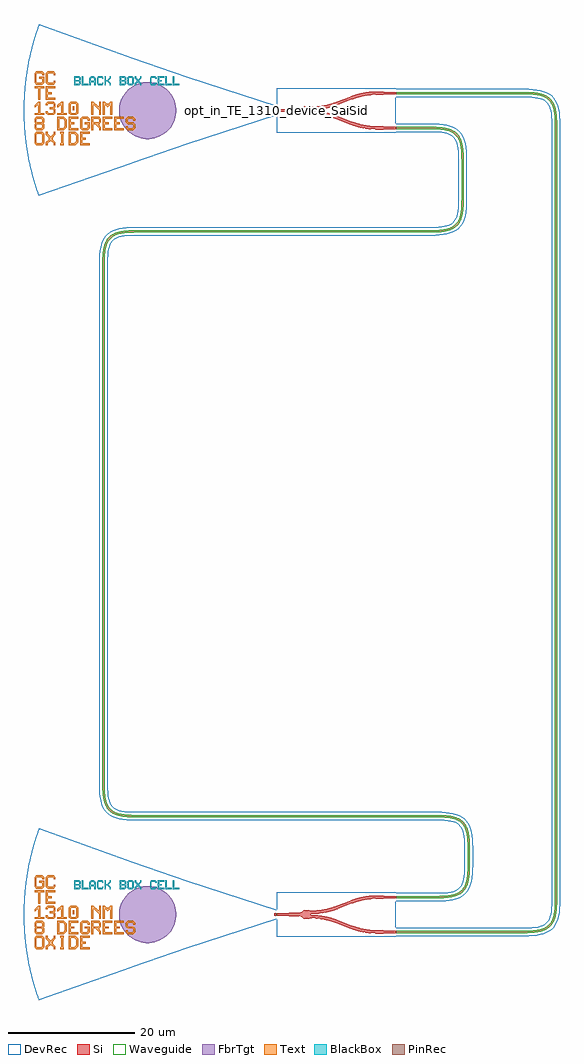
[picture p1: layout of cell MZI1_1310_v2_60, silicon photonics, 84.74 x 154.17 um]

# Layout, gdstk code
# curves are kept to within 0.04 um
import gdstk
lib = gdstk.Library(unit=1e-6, precision=1e-09)
def R(c, l, rs):  # rectangles x0, y0, x1, y1
    for r in rs: c.add(gdstk.rectangle(r[:2], r[2:], *l))
def P(c, l, *ps):  # polygons
    for p in ps: c.add(gdstk.Polygon(p, *l))
Si = (1, 0)
PinRec = (1, 10)
Waveguide = (1, 99)
Text = (10, 0)
DevRec = (68, 0)
FbrTgt = (81, 0)
BlackBox = (998, 0)

text = lib.new_cell('TEXT')
P(text, BlackBox, [(0,0),(0,1.4),(0.8,1.4),(1,1.2),(0.2,1.2),(0.2,0.8),(0.7,0.8),(0.8,0.9),(0.8,1.1),(0.7,1.2),(1,1.2),(1,0.8),(0.9,0.7),(1,0.6),(0.2,0.6),(0.2,0.2),(0.7,0.2),(0.8,0.3),(0.8,0.5),(0.7,0.6),(1,0.6),(1,0.2),(0.8,0)],
  [(1.2,0),(1.2,1.4),(1.4,1.4),(1.4,0.2),(2.2,0.2),(2.2,0)],
  [(2.4,0),(2.4,1.1),(2.7,1.4),(3.1,1.4),(3.3,1.2),(2.8,1.2),(2.6,1),(2.6,0.7),(3.2,0.7),(3.2,1),(3,1.2),(3.3,1.2),(3.4,1.1),(3.4,0),(3.2,0),(3.2,0.5),(2.6,0.5),(2.6,0)],
  [(3.8,0),(3.6,0.2),(3.6,1.2),(3.8,1.4),(4.4,1.4),(4.6,1.2),(4.6,1),(4.4,1),(4.4,1.1),(4.3,1.2),(3.9,1.2),(3.8,1.1),(3.8,0.3),(3.9,0.2),(4.3,0.2),(4.4,0.3),(4.4,0.4),(4.6,0.4),(4.6,0.2),(4.4,0)],
  [(4.8,0),(4.8,1.4),(5,1.4),(5,0.8),(5.2,0.8),(5.6,1.2),(5.6,1.4),(5.8,1.4),(5.8,1.1),(5.4,0.7),(5.8,0.3),(5.8,0),(5.6,0),(5.6,0.2),(5.2,0.6),(5,0.6),(5,0)],
  [(7.2,0),(7.2,1.4),(8,1.4),(8.2,1.2),(7.4,1.2),(7.4,0.8),(7.9,0.8),(8,0.9),(8,1.1),(7.9,1.2),(8.2,1.2),(8.2,0.8),(8.1,0.7),(8.2,0.6),(7.4,0.6),(7.4,0.2),(7.9,0.2),(8,0.3),(8,0.5),(7.9,0.6),(8.2,0.6),(8.2,0.2),(8,0)],
  [(8.6,0),(8.4,0.2),(8.4,1.2),(8.6,1.4),(9.2,1.4),(9.4,1.2),(9.4,0.7),(9.2,0.7),(9.2,1.1),(9.1,1.2),(8.7,1.2),(8.6,1.1),(8.6,0.3),(8.7,0.2),(9.1,0.2),(9.2,0.3),(9.2,0.7),(9.4,0.7),(9.4,0.2),(9.2,0)],
  [(9.6,0),(9.6,0.3),(9.9,0.6),(9.9,0.8),(9.6,1.1),(9.6,1.4),(9.8,1.4),(9.8,1.2),(10.1,0.9),(10.4,1.2),(10.4,1.4),(10.6,1.4),(10.6,1.1),(10.3,0.8),(10.3,0.6),(10.6,0.3),(10.6,0),(10.4,0),(10.4,0.2),(10.1,0.5),(9.8,0.2),(9.8,0)],
  [(12.2,0),(12,0.2),(12,1.2),(12.2,1.4),(12.8,1.4),(13,1.2),(13,1),(12.8,1),(12.8,1.1),(12.7,1.2),(12.3,1.2),(12.2,1.1),(12.2,0.3),(12.3,0.2),(12.7,0.2),(12.8,0.3),(12.8,0.4),(13,0.4),(13,0.2),(12.8,0)],
  [(13.2,0),(13.2,1.4),(14.2,1.4),(14.2,1.2),(13.4,1.2),(13.4,0.8),(13.8,0.8),(13.8,0.6),(13.4,0.6),(13.4,0.2),(14.2,0.2),(14.2,0)],
  [(14.4,0),(14.4,1.4),(14.6,1.4),(14.6,0.2),(15.4,0.2),(15.4,0)],
  [(15.6,0),(15.6,1.4),(15.8,1.4),(15.8,0.2),(16.6,0.2),(16.6,0)])

gc_te_1310_8degoxide_bb = lib.new_cell('GC_TE_1310_8degOxide_BB')
R(gc_te_1310_8degoxide_bb, Si, [(-0.4,-0.175,0,0.175)])
R(gc_te_1310_8degoxide_bb, Text, [(-32.27,0.06,-31.97,0.66)])
P(gc_te_1310_8degoxide_bb, Text, [(-37.67,1.71),(-37.67,3.51),(-38.27,3.51),(-38.27,3.81),(-36.77,3.81),(-36.77,3.51),(-37.37,3.51),(-37.37,1.71)],
  [(-37.97,-5.49),(-38.27,-5.19),(-38.27,-3.69),(-37.97,-3.39),(-37.07,-3.39),(-36.77,-3.69),(-36.77,-4.44),(-37.07,-4.44),(-37.07,-3.84),(-37.22,-3.69),(-37.82,-3.69),(-37.97,-3.84),(-37.97,-5.04),(-37.82,-5.19),(-37.22,-5.19),(-37.07,-5.04),(-37.07,-4.44),(-36.77,-4.44),(-36.77,-5.19),(-37.07,-5.49)],
  [(-31.07,-5.49),(-31.07,-3.39),(-29.57,-3.39),(-29.57,-3.69),(-30.77,-3.69),(-30.77,-4.29),(-30.17,-4.29),(-30.17,-4.59),(-30.77,-4.59),(-30.77,-5.19),(-29.57,-5.19),(-29.57,-5.49)],
  [(-32.87,-3.09),(-32.87,-0.99),(-31.37,-0.99),(-31.37,-1.29),(-32.57,-1.29),(-32.57,-1.89),(-31.97,-1.89),(-31.97,-2.19),(-32.57,-2.19),(-32.57,-2.79),(-31.37,-2.79),(-31.37,-3.09)],
  [(-27.47,-3.09),(-27.47,-0.99),(-25.97,-0.99),(-25.97,-1.29),(-27.17,-1.29),(-27.17,-1.89),(-26.57,-1.89),(-26.57,-2.19),(-27.17,-2.19),(-27.17,-2.79),(-25.97,-2.79),(-25.97,-3.09)],
  [(-25.67,-3.09),(-25.67,-0.99),(-24.17,-0.99),(-24.17,-1.29),(-25.37,-1.29),(-25.37,-1.89),(-24.77,-1.89),(-24.77,-2.19),(-25.37,-2.19),(-25.37,-2.79),(-24.17,-2.79),(-24.17,-3.09)],
  [(-36.47,1.71),(-36.47,3.81),(-34.97,3.81),(-34.97,3.51),(-36.17,3.51),(-36.17,2.91),(-35.57,2.91),(-35.57,2.61),(-36.17,2.61),(-36.17,2.01),(-34.97,2.01),(-34.97,1.71)],
  [(-27.47,-0.69),(-27.47,1.41),(-27.17,1.41),(-26.87,1.11),(-26.57,1.11),(-26.27,1.41),(-25.97,1.41),(-25.97,-0.69),(-26.27,-0.69),(-26.27,0.81),(-26.42,0.81),(-26.72,0.51),(-27.02,0.81),(-27.17,0.81),(-27.17,-0.69)],
  [(-29.27,-0.69),(-29.27,1.41),(-28.97,1.41),(-28.22,0.66),(-28.07,0.66),(-28.07,1.41),(-27.77,1.41),(-27.77,-0.69),(-28.07,-0.69),(-28.07,0.06),(-28.82,0.81),(-28.97,0.81),(-28.97,-0.69)],
  [(-34.22,-5.49),(-34.22,-5.19),(-34.07,-5.19),(-34.07,-3.69),(-34.22,-3.69),(-34.22,-3.39),(-33.62,-3.39),(-33.62,-3.69),(-33.77,-3.69),(-33.77,-5.19),(-33.62,-5.19),(-33.62,-5.49)],
  [(-36.17,-0.69),(-36.47,-0.39),(-36.47,-0.09),(-36.17,-0.09),(-36.17,-0.24),(-36.02,-0.39),(-35.42,-0.39),(-35.27,-0.24),(-35.27,0.06),(-35.42,0.21),(-35.87,0.21),(-35.87,0.51),(-35.42,0.51),(-35.27,0.66),(-35.27,0.96),(-35.42,1.11),(-36.02,1.11),(-36.17,0.96),(-36.17,0.81),(-36.47,0.81),(-36.47,1.11),(-36.17,1.41),(-35.27,1.41),(-34.97,1.11),(-34.97,0.51),(-35.12,0.36),(-34.97,0.21),(-34.97,-0.39),(-35.27,-0.69)],
  [(-29.27,-3.09),(-29.27,-0.99),(-28.07,-0.99),(-27.77,-1.29),(-28.97,-1.29),(-28.97,-1.89),(-28.22,-1.89),(-28.07,-1.74),(-28.07,-1.44),(-28.22,-1.29),(-27.77,-1.29),(-27.77,-1.89),(-28.07,-2.19),(-28.07,-2.34),(-27.77,-2.64),(-27.77,-3.09),(-28.07,-3.09),(-28.07,-2.79),(-28.67,-2.19),(-28.97,-2.19),(-28.97,-3.09)],
  [(-30.77,-3.09),(-31.07,-2.79),(-31.07,-1.29),(-30.77,-0.99),(-29.87,-0.99),(-29.57,-1.29),(-29.57,-1.59),(-29.87,-1.59),(-29.87,-1.44),(-30.02,-1.29),(-30.62,-1.29),(-30.77,-1.44),(-30.77,-2.64),(-30.62,-2.79),(-30.02,-2.79),(-29.87,-2.64),(-29.87,-2.19),(-30.32,-2.19),(-30.32,-1.89),(-29.57,-1.89),(-29.57,-2.79),(-29.87,-3.09)],
  [(-37.97,4.11),(-38.27,4.41),(-38.27,5.91),(-37.97,6.21),(-37.07,6.21),(-36.77,5.91),(-36.77,5.61),(-37.07,5.61),(-37.07,5.76),(-37.22,5.91),(-37.82,5.91),(-37.97,5.76),(-37.97,4.56),(-37.82,4.41),(-37.22,4.41),(-37.07,4.56),(-37.07,5.01),(-37.52,5.01),(-37.52,5.31),(-36.77,5.31),(-36.77,4.41),(-37.07,4.11)],
  [(-32.57,-0.69),(-32.87,-0.39),(-32.87,1.11),(-32.57,1.41),(-31.67,1.41),(-31.37,1.11),(-32.42,1.11),(-32.57,0.96),(-32.57,-0.24),(-32.42,-0.39),(-31.82,-0.39),(-31.67,-0.24),(-31.67,0.96),(-31.82,1.11),(-31.37,1.11),(-31.37,-0.39),(-31.67,-0.69)],
  [(-32.87,-5.49),(-32.87,-3.39),(-31.82,-3.39),(-31.52,-3.69),(-32.57,-3.69),(-32.57,-5.19),(-31.97,-5.19),(-31.67,-4.89),(-31.67,-3.99),(-31.97,-3.69),(-31.52,-3.69),(-31.37,-3.84),(-31.37,-5.04),(-31.82,-5.49)],
  [(-34.67,-3.09),(-34.67,-0.99),(-33.62,-0.99),(-33.32,-1.29),(-34.37,-1.29),(-34.37,-2.79),(-33.77,-2.79),(-33.47,-2.49),(-33.47,-1.59),(-33.77,-1.29),(-33.32,-1.29),(-33.17,-1.44),(-33.17,-2.64),(-33.62,-3.09)],
  [(-23.57,-3.09),(-23.87,-2.79),(-23.87,-2.49),(-23.57,-2.49),(-23.57,-2.64),(-23.42,-2.79),(-22.82,-2.79),(-22.67,-2.64),(-22.67,-2.34),(-22.82,-2.19),(-23.57,-2.19),(-23.87,-1.89),(-23.87,-1.29),(-23.57,-0.99),(-22.67,-0.99),(-22.37,-1.29),(-22.37,-1.59),(-22.67,-1.59),(-22.67,-1.44),(-22.82,-1.29),(-23.42,-1.29),(-23.57,-1.44),(-23.57,-1.74),(-23.42,-1.89),(-22.67,-1.89),(-22.37,-2.19),(-22.37,-2.79),(-22.67,-3.09)],
  [(-37.97,-3.09),(-38.27,-2.79),(-38.27,-2.19),(-38.12,-2.04),(-38.27,-1.89),(-38.27,-1.29),(-37.97,-0.99),(-37.07,-0.99),(-36.77,-1.29),(-37.82,-1.29),(-37.97,-1.44),(-37.97,-1.74),(-37.82,-1.89),(-37.22,-1.89),(-37.07,-1.74),(-37.07,-1.44),(-37.22,-1.29),(-36.77,-1.29),(-36.77,-1.89),(-36.92,-2.04),(-36.77,-2.19),(-37.82,-2.19),(-37.97,-2.34),(-37.97,-2.64),(-37.82,-2.79),(-37.22,-2.79),(-37.07,-2.64),(-37.07,-2.34),(-37.22,-2.19),(-36.77,-2.19),(-36.77,-2.79),(-37.07,-3.09)],
  [(-38.27,-0.69),(-38.27,-0.39),(-37.67,-0.39),(-37.67,0.81),(-37.82,0.81),(-38.12,0.51),(-38.27,0.51),(-38.27,0.81),(-37.67,1.41),(-37.37,1.41),(-37.37,-0.39),(-36.77,-0.39),(-36.77,-0.69)],
  [(-34.67,-0.69),(-34.67,-0.39),(-34.07,-0.39),(-34.07,0.81),(-34.22,0.81),(-34.52,0.51),(-34.67,0.51),(-34.67,0.81),(-34.07,1.41),(-33.77,1.41),(-33.77,-0.39),(-33.17,-0.39),(-33.17,-0.69)],
  [(-36.47,-5.49),(-36.47,-5.04),(-36.02,-4.59),(-36.02,-4.29),(-36.47,-3.84),(-36.47,-3.39),(-36.17,-3.39),(-36.17,-3.69),(-35.72,-4.14),(-35.27,-3.69),(-35.27,-3.39),(-34.97,-3.39),(-34.97,-3.84),(-35.42,-4.29),(-35.42,-4.59),(-34.97,-5.04),(-34.97,-5.49),(-35.27,-5.49),(-35.27,-5.19),(-35.72,-4.74),(-36.17,-5.19),(-36.17,-5.49)],
  [(-36.17,4.11),(-36.47,4.41),(-36.47,5.91),(-36.17,6.21),(-35.27,6.21),(-34.97,5.91),(-34.97,5.61),(-35.27,5.61),(-35.27,5.76),(-35.42,5.91),(-36.02,5.91),(-36.17,5.76),(-36.17,4.56),(-36.02,4.41),(-35.42,4.41),(-35.27,4.56),(-35.27,4.71),(-34.97,4.71),(-34.97,4.41),(-35.27,4.11)])
P(gc_te_1310_8degoxide_bb, DevRec, [(-37.607,-13.5),(-38.627,-10.245),(-39.378,-6.832),(-39.647,-5.058),(-39.835,-3.274),(-39.969,0.224),(-39.812,3.541),(-39.331,7.097),(-38.557,10.505),(-37.546,13.669),(-22.8,8.353),(-14.109,5.36),(0,0.75),(0,-0.75),(-14.109,-5.36)])
P(gc_te_1310_8degoxide_bb, FbrTgt, [(-20.621,-4.5),(-21.495,-4.37),(-22.326,-4.073),(-23.084,-3.619),(-23.738,-3.026),(-24.264,-2.316),(-24.642,-1.518),(-24.857,-0.661),(-24.9,0.221),(-24.77,1.095),(-24.473,1.926),(-24.019,2.684),(-23.426,3.338),(-22.716,3.864),(-21.918,4.242),(-21.061,4.457),(-20.179,4.5),(-19.305,4.37),(-18.474,4.073),(-17.716,3.619),(-17.062,3.026),(-16.536,2.316),(-16.158,1.518),(-15.943,0.661),(-15.9,-0.221),(-16.03,-1.095),(-16.327,-1.926),(-16.781,-2.684),(-17.374,-3.338),(-18.084,-3.864),(-18.882,-4.242),(-19.739,-4.457)])
gc_te_1310_8degoxide_bb.add(gdstk.FlexPath([(-0.01,0),(0.01,0)], 0.35, ends="flush", simple_path=True, layer=1, datatype=10))  # PinRec
gc_te_1310_8degoxide_bb.add(gdstk.Reference(text, (-32,4)))
gc_te_1310_8degoxide_bb.add(gdstk.Label('Lumerical_INTERCONNECT_library=Design kits/ebeam', (-29,-7), layer=68, texttype=0))
gc_te_1310_8degoxide_bb.add(gdstk.Label('Component=GC_TE_1310_8degOxide_BB', (-28,-5), layer=68, texttype=0))
gc_te_1310_8degoxide_bb.add(gdstk.Label('opt1', (0,0), layer=1, texttype=10))

ebeam_y_1310 = lib.new_cell('ebeam_y_1310')
R(ebeam_y_1310, Si, [(6.5,-3,7.4,-2.5), (-7.4,-0.25,-6,0.25), (6.5,2.5,7.4,3)])
P(ebeam_y_1310, Si, [(6.458,-3),(6.237,-2.997),(6.237,-2.497),(6.5,-2.5),(6.5,-3)],
  [(5.033,-2.908),(3.59,-2.634),(2.265,-2.21),(2.445,-1.744),(3.731,-2.154),(5.033,-2.404)],
  [(6.233,-2.997),(5.033,-2.908),(5.033,-2.404),(6.237,-2.497)],
  [(2.265,-2.21),(0.055,-1.356),(0.235,-0.89),(2.445,-1.744)],
  [(-0.762,-1.076),(-2.334,-0.724),(-4,-0.6),(-4,-0.1),(-2.381,-0.212),(-0.762,-0.555)],
  [(0.055,-1.356),(-0.762,-1.076),(-0.762,-0.555),(0.235,-0.89)],
  [(6.237,2.497),(6.237,2.997),(6.5,3),(6.5,2.5)],
  [(2.445,1.744),(2.267,2.211),(3.59,2.634),(5.033,2.908),(5.033,2.404),(3.731,2.154)],
  [(5.033,2.404),(5.033,2.908),(6.237,2.997),(6.237,2.497)],
  [(0.235,0.89),(0.055,1.356),(2.265,2.21),(2.445,1.744)],
  [(-4,0.1),(-4,0.6),(-2.334,0.724),(-0.762,1.076),(-0.762,0.555),(-2.381,0.212)],
  [(-0.762,0.555),(-0.762,1.076),(0.055,1.356),(0.235,0.89)],
  [(-5.122,-0.662),(-5.442,-0.374),(-5.808,-0.255),(-6,-0.25),(-6,0.25),(-5.817,0.253),(-5.442,0.374),(-5.122,0.662)],
  [(-4.957,-0.703),(-5.122,-0.662),(-5.122,0.662),(-4.538,0.703),(-4,0.6),(-4,-0.6),(-4.509,-0.701)],
  [(-7.4,-0.25),(-9.4,-0.175),(-9.4,0.175),(-7.4,0.25)],
  [(7.4,2.5),(7.4,3),(9.4,2.925),(9.4,2.575)],
  [(7.4,-3),(7.4,-2.5),(9.4,-2.575),(9.4,-2.925)])
R(ebeam_y_1310, DevRec, [(-9.4,-3.5,9.4,3.5)])
ebeam_y_1310.add(gdstk.FlexPath([(9.35,2.75),(9.45,2.75)], 0.35, ends="flush", simple_path=True, layer=1, datatype=10))  # PinRec
ebeam_y_1310.add(gdstk.FlexPath([(9.35,-2.75),(9.45,-2.75)], 0.35, ends="flush", simple_path=True, layer=1, datatype=10))  # PinRec
ebeam_y_1310.add(gdstk.FlexPath([(-9.35,0),(-9.45,0)], 0.35, ends="flush", simple_path=True, layer=1, datatype=10))  # PinRec
ebeam_y_1310.add(gdstk.Label('Ref: Y Zhang, Opt. Express, 21/1, 2013, for 1550 nm\nWorks reasonably well at 1310 nm', (-9.25,-1), layer=10, texttype=0))
ebeam_y_1310.add(gdstk.Label('Lumerical_INTERCONNECT_library=Design kits/ebeam', (-6.86,-2.19), layer=68, texttype=0))
ebeam_y_1310.add(gdstk.Label('Component=ebeam_y_1310', (-9,1.5), layer=68, texttype=0))
ebeam_y_1310.add(gdstk.Label('opt2', (9.4,2.75), layer=1, texttype=10))
ebeam_y_1310.add(gdstk.Label('opt3', (9.4,-2.75), layer=1, texttype=10))
ebeam_y_1310.add(gdstk.Label('opt1', (-9.4,0), layer=1, texttype=10))

waveguide_13 = lib.new_cell('Waveguide$13')
P(waveguide_13, Si, [(58.769,16.075),(58.769,16.425),(65.508,16.427),(67.191,16.539),(67.924,16.693),(68.524,16.921),(69.005,17.227),(69.381,17.623),(69.672,18.126),(69.848,18.617),(70.062,19.858),(70.114,21.033),(70.115,24.04),(70.023,25.778),(69.807,26.805),(69.446,27.575),(69.166,27.916),(68.824,28.197),(68.054,28.558),(67.027,28.774),(65.507,28.864),(16.741,28.883),(15.312,29.039),(14.719,29.189),(14.2,29.397),(13.754,29.668),(13.378,30.008),(13.073,30.419),(12.888,30.774),(12.656,31.456),(12.532,32.088),(12.416,33.819),(12.443,117.456),(12.533,118.363),(12.739,119.281),(13.009,119.918),(13.379,120.443),(13.969,120.927),(14.583,121.216),(15.313,121.412),(16.353,121.546),(17.59,121.585),(64.32,121.585),(66.058,121.677),(66.678,121.783),(67.33,121.98),(68.035,122.387),(68.344,122.696),(68.596,123.071),(68.914,123.912),(69.092,125.018),(69.145,126.41),(69.127,133.583),(68.947,135.108),(68.795,135.64),(68.595,136.09),(68.196,136.626),(67.659,137.026),(66.953,137.308),(66.22,137.462),(64.749,137.571),(58.769,137.575),(58.769,137.925),(65.365,137.898),(66.272,137.808),(67.049,137.644),(67.709,137.394),(68.256,137.044),(68.692,136.586),(69.021,136.017),(69.253,135.335),(69.401,134.532),(69.493,132.972),(69.495,126.41),(69.468,125.365),(69.378,124.458),(69.126,123.403),(68.767,122.68),(68.257,122.117),(67.942,121.894),(67.46,121.656),(66.905,121.477),(66.102,121.329),(64.32,121.235),(17.59,121.235),(16.379,121.196),(15.533,121.097),(14.701,120.886),(14.151,120.627),(13.714,120.286),(13.315,119.75),(13.073,119.175),(12.904,118.468),(12.793,117.436),(12.766,33.823),(12.878,32.14),(13.032,31.407),(13.208,30.916),(13.433,30.506),(13.714,30.164),(14.055,29.884),(14.465,29.659),(15.532,29.354),(16.956,29.225),(65.511,29.214),(67.071,29.122),(68.16,28.892),(69.02,28.487),(69.322,28.252),(69.662,27.876),(70.095,27.048),(70.371,25.822),(70.463,24.262),(70.426,20.013),(70.348,19.298),(70.184,18.521),(69.992,17.984),(69.663,17.415),(69.227,16.957),(68.68,16.607),(67.875,16.317),(67.072,16.169),(65.512,16.077)])
P(waveguide_13, Waveguide, [(58.769,16.075),(58.769,16.425),(65.508,16.427),(67.191,16.539),(67.924,16.693),(68.524,16.921),(69.005,17.227),(69.381,17.623),(69.672,18.126),(69.848,18.617),(70.062,19.858),(70.114,21.033),(70.115,24.04),(70.023,25.778),(69.807,26.805),(69.446,27.575),(69.166,27.916),(68.824,28.197),(68.054,28.558),(67.027,28.774),(65.507,28.864),(16.741,28.883),(15.312,29.039),(14.719,29.189),(14.2,29.397),(13.754,29.668),(13.378,30.008),(13.073,30.419),(12.888,30.774),(12.656,31.456),(12.532,32.088),(12.416,33.819),(12.443,117.456),(12.533,118.363),(12.739,119.281),(13.009,119.918),(13.379,120.443),(13.969,120.927),(14.583,121.216),(15.313,121.412),(16.353,121.546),(17.59,121.585),(64.32,121.585),(66.058,121.677),(66.678,121.783),(67.33,121.98),(68.035,122.387),(68.344,122.696),(68.596,123.071),(68.914,123.912),(69.092,125.018),(69.145,126.41),(69.127,133.583),(68.947,135.108),(68.795,135.64),(68.595,136.09),(68.196,136.626),(67.659,137.026),(66.953,137.308),(66.22,137.462),(64.749,137.571),(58.769,137.575),(58.769,137.925),(65.365,137.898),(66.272,137.808),(67.049,137.644),(67.709,137.394),(68.256,137.044),(68.692,136.586),(69.021,136.017),(69.253,135.335),(69.401,134.532),(69.493,132.972),(69.495,126.41),(69.468,125.365),(69.378,124.458),(69.126,123.403),(68.767,122.68),(68.257,122.117),(67.942,121.894),(67.46,121.656),(66.905,121.477),(66.102,121.329),(64.32,121.235),(17.59,121.235),(16.379,121.196),(15.533,121.097),(14.701,120.886),(14.151,120.627),(13.714,120.286),(13.315,119.75),(13.073,119.175),(12.904,118.468),(12.793,117.436),(12.766,33.823),(12.878,32.14),(13.032,31.407),(13.208,30.916),(13.433,30.506),(13.714,30.164),(14.055,29.884),(14.465,29.659),(15.532,29.354),(16.956,29.225),(65.511,29.214),(67.071,29.122),(68.16,28.892),(69.02,28.487),(69.322,28.252),(69.662,27.876),(70.095,27.048),(70.371,25.822),(70.463,24.262),(70.426,20.013),(70.348,19.298),(70.184,18.521),(69.992,17.984),(69.663,17.415),(69.227,16.957),(68.68,16.607),(67.875,16.317),(67.072,16.169),(65.512,16.077)])
P(waveguide_13, DevRec, [(58.769,15.575),(58.769,16.925),(66.527,16.968),(67.889,17.205),(68.488,17.472),(68.905,17.826),(69.213,18.324),(69.336,18.652),(69.573,20.014),(69.615,24.038),(69.572,25.277),(69.437,26.249),(69.335,26.639),(69.068,27.238),(68.904,27.465),(68.487,27.819),(67.888,28.086),(66.526,28.323),(65.29,28.365),(16.89,28.376),(15.095,28.573),(14.111,28.886),(13.289,29.4),(12.949,29.74),(12.435,30.562),(12.256,31.036),(12.025,32.099),(11.915,34.04),(11.926,117.11),(12.026,118.352),(12.257,119.415),(12.666,120.322),(12.95,120.711),(13.29,121.051),(14.112,121.565),(15.096,121.878),(16.246,122.039),(17.59,122.085),(64.32,122.085),(66.076,122.184),(67.247,122.488),(67.745,122.796),(67.935,122.986),(68.243,123.484),(68.468,124.202),(68.603,125.174),(68.634,133.402),(68.467,134.959),(68.365,135.349),(68.098,135.948),(67.744,136.365),(67.246,136.673),(66.075,136.977),(64.319,137.075),(58.769,137.075),(58.769,138.425),(65.018,138.415),(66.261,138.315),(67.324,138.084),(68.231,137.675),(68.62,137.391),(68.96,137.051),(69.474,136.229),(69.653,135.755),(69.884,134.692),(69.995,132.751),(69.995,126.409),(69.885,124.469),(69.654,123.406),(69.245,122.499),(68.621,121.77),(67.799,121.256),(67.325,121.077),(66.262,120.846),(64.32,120.735),(17.59,120.735),(16.354,120.693),(14.992,120.456),(14.393,120.189),(13.976,119.835),(13.668,119.337),(13.443,118.619),(13.276,117.062),(13.265,34.04),(13.363,32.285),(13.667,31.114),(13.975,30.616),(14.165,30.426),(14.663,30.118),(15.834,29.814),(16.938,29.726),(65.29,29.715),(67.231,29.605),(68.294,29.374),(69.201,28.965),(69.93,28.341),(70.444,27.519),(70.623,27.045),(70.854,25.982),(70.965,24.042),(70.919,19.906),(70.758,18.756),(70.624,18.246),(70.215,17.339),(69.931,16.95),(69.202,16.326),(68.295,15.917),(67.232,15.686),(65.291,15.575)])
waveguide_13.add(gdstk.FlexPath([(58.779,137.75),(58.759,137.75)], 0.35, ends="flush", simple_path=True, layer=1, datatype=10))  # PinRec
waveguide_13.add(gdstk.FlexPath([(58.779,16.25),(58.759,16.25)], 0.35, ends="flush", simple_path=True, layer=1, datatype=10))  # PinRec
waveguide_13.add(gdstk.Label('Lumerical_INTERCONNECT_library=Design kits/EBeam', (58.769,137.68), layer=68, texttype=0))
waveguide_13.add(gdstk.Label('Component=ebeam_wg_integral_1310', (58.769,137.82), layer=68, texttype=0))
waveguide_13.add(gdstk.Label('cellName=Waveguide', (58.769,137.89), layer=68, texttype=0))
waveguide_13.add(gdstk.Label('Spice_param:wg_length=0.000248724 wg_width=3.5e-07 points="[[58.769,137.75],[69.32,137.75],[69.32,121.41],[12.59,121.41],[12.59,29.04],[70.29,29.04],[70.29,16.25],[58.769,16.25]]" radius=5e-06', (58.769,137.75), layer=68, texttype=0))
waveguide_13.add(gdstk.Label('Length=248.724 (microns)', (58.769,137.33), layer=68, texttype=0))
waveguide_13.add(gdstk.Label('waveguide_type=Strip TE 1310 nm, w=350 nm', (58.769,137.61), layer=68, texttype=0))
waveguide_13.add(gdstk.Label('opt1', (58.769,137.75), layer=1, texttype=10))
waveguide_13.add(gdstk.Label('opt2', (58.769,16.25), layer=1, texttype=10))

waveguide_12 = lib.new_cell('Waveguide$12')
P(waveguide_12, Si, [(58.769,10.575),(58.769,10.925),(79.065,10.925),(80.803,11.017),(81.423,11.123),(82.075,11.32),(82.505,11.534),(82.862,11.799),(83.222,12.216),(83.447,12.626),(83.752,13.693),(83.851,14.539),(83.89,15.75),(83.89,138.25),(83.85,139.462),(83.722,140.462),(83.54,141.14),(83.34,141.59),(83.088,141.965),(82.779,142.274),(82.404,142.526),(81.954,142.726),(81.422,142.878),(80.632,143.004),(79.065,143.075),(58.769,143.075),(58.769,143.425),(79.286,143.424),(80.302,143.386),(81.182,143.281),(81.935,143.102),(82.572,142.832),(83.097,142.462),(83.511,141.981),(83.819,141.39),(84.034,140.684),(84.166,139.856),(84.235,138.686),(84.24,15.75),(84.201,14.513),(84.096,13.633),(83.917,12.88),(83.709,12.361),(83.438,11.915),(83.098,11.539),(82.687,11.234),(82.205,10.996),(81.65,10.817),(80.847,10.669),(79.065,10.575)])
P(waveguide_12, Waveguide, [(58.769,10.575),(58.769,10.925),(79.065,10.925),(80.803,11.017),(81.423,11.123),(82.075,11.32),(82.505,11.534),(82.862,11.799),(83.222,12.216),(83.447,12.626),(83.752,13.693),(83.851,14.539),(83.89,15.75),(83.89,138.25),(83.85,139.462),(83.722,140.462),(83.54,141.14),(83.34,141.59),(83.088,141.965),(82.779,142.274),(82.404,142.526),(81.954,142.726),(81.422,142.878),(80.632,143.004),(79.065,143.075),(58.769,143.075),(58.769,143.425),(79.286,143.424),(80.302,143.386),(81.182,143.281),(81.935,143.102),(82.572,142.832),(83.097,142.462),(83.511,141.981),(83.819,141.39),(84.034,140.684),(84.166,139.856),(84.235,138.686),(84.24,15.75),(84.201,14.513),(84.096,13.633),(83.917,12.88),(83.709,12.361),(83.438,11.915),(83.098,11.539),(82.687,11.234),(82.205,10.996),(81.65,10.817),(80.847,10.669),(79.065,10.575)])
P(waveguide_12, DevRec, [(58.769,10.075),(58.769,11.425),(79.065,11.425),(80.821,11.524),(81.664,11.705),(81.992,11.828),(82.49,12.136),(82.68,12.326),(82.988,12.824),(83.292,13.995),(83.39,15.75),(83.39,138.25),(83.347,139.487),(83.212,140.459),(83.11,140.849),(82.843,141.448),(82.679,141.675),(82.262,142.029),(81.663,142.296),(81.273,142.398),(80.301,142.533),(58.769,142.575),(58.769,143.925),(79.065,143.925),(81.006,143.815),(82.069,143.584),(82.543,143.405),(83.365,142.891),(83.705,142.551),(83.989,142.162),(84.398,141.255),(84.629,140.192),(84.729,138.95),(84.74,15.75),(84.63,13.809),(84.399,12.746),(84.22,12.272),(83.706,11.45),(83.366,11.11),(82.544,10.596),(82.07,10.417),(81.007,10.186),(79.065,10.075)])
waveguide_12.add(gdstk.FlexPath([(58.779,143.25),(58.759,143.25)], 0.35, ends="flush", simple_path=True, layer=1, datatype=10))  # PinRec
waveguide_12.add(gdstk.FlexPath([(58.779,10.75),(58.759,10.75)], 0.35, ends="flush", simple_path=True, layer=1, datatype=10))  # PinRec
waveguide_12.add(gdstk.Label('Lumerical_INTERCONNECT_library=Design kits/EBeam', (58.769,143.18), layer=68, texttype=0))
waveguide_12.add(gdstk.Label('Component=ebeam_wg_integral_1310', (58.769,143.32), layer=68, texttype=0))
waveguide_12.add(gdstk.Label('cellName=Waveguide', (58.769,143.39), layer=68, texttype=0))
waveguide_12.add(gdstk.Label('Spice_param:wg_length=0.000179999 wg_width=3.5e-07 points="[[58.769,143.25],[84.065,143.25],[84.065,10.75],[58.769,10.75]]" radius=5e-06', (58.769,143.25), layer=68, texttype=0))
waveguide_12.add(gdstk.Label('Length=179.999 (microns)', (58.769,142.83), layer=68, texttype=0))
waveguide_12.add(gdstk.Label('waveguide_type=Strip TE 1310 nm, w=350 nm', (58.769,143.11), layer=68, texttype=0))
waveguide_12.add(gdstk.Label('opt1', (58.769,143.25), layer=1, texttype=10))
waveguide_12.add(gdstk.Label('opt2', (58.769,10.75), layer=1, texttype=10))

mzi1_1310_v2_60 = lib.new_cell('MZI1_1310_v2_60')
mzi1_1310_v2_60.add(gdstk.Reference(gc_te_1310_8degoxide_bb, (39.969,13.5)))
mzi1_1310_v2_60.add(gdstk.Reference(ebeam_y_1310, (49.369,140.5)))
mzi1_1310_v2_60.add(gdstk.Reference(ebeam_y_1310, (49.369,13.5)))
mzi1_1310_v2_60.add(gdstk.Reference(gc_te_1310_8degoxide_bb, (39.969,140.5)))
mzi1_1310_v2_60.add(gdstk.Reference(waveguide_13, (0,0)))
mzi1_1310_v2_60.add(gdstk.Reference(waveguide_12, (0,0)))
mzi1_1310_v2_60.add(gdstk.Label('opt_in_TE_1310_device_SaiSidhartha_MZI1_v2', (39.969,140.5), layer=10, texttype=0))

lib.write_gds('MZI1_1310_v2_60.gds')
